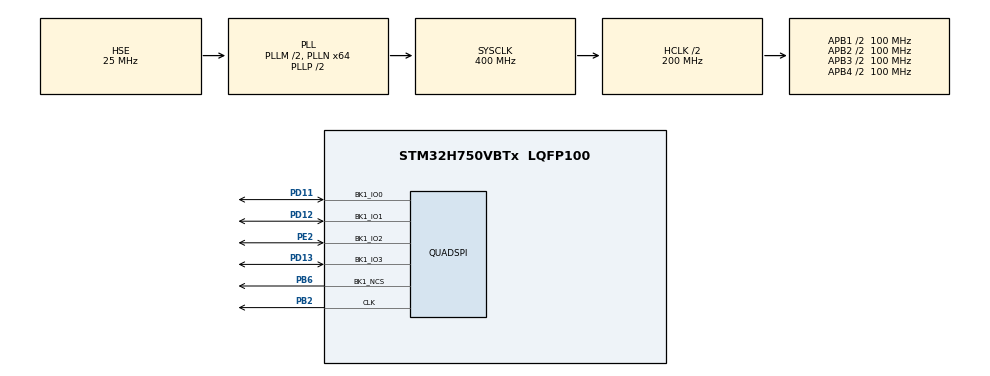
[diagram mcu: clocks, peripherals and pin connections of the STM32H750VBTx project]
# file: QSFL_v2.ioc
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Mcu.Family=STM32H7
Mcu.Name=STM32H750VBTx
Mcu.Package=LQFP100
NVIC.PriorityGroup=NVIC_PRIORITYGROUP_4
PB2.GPIO_Speed=GPIO_SPEED_FREQ_VERY_HIGH
PB2.Mode=Single Bank 1
PB2.Signal=QUADSPI_CLK
PB6.GPIO_Speed=GPIO_SPEED_FREQ_VERY_HIGH
PB6.Mode=Single Bank 1
PB6.Signal=QUADSPI_BK1_NCS
PD11.GPIO_Speed=GPIO_SPEED_FREQ_VERY_HIGH
PD11.Mode=Single Bank 1
PD11.Signal=QUADSPI_BK1_IO0
PD12.GPIO_Speed=GPIO_SPEED_FREQ_VERY_HIGH
PD12.Mode=Single Bank 1
PD12.Signal=QUADSPI_BK1_IO1
PD13.GPIO_Speed=GPIO_SPEED_FREQ_VERY_HIGH
PD13.Mode=Single Bank 1
PD13.Signal=QUADSPI_BK1_IO3
PE2.GPIO_Speed=GPIO_SPEED_FREQ_VERY_HIGH
PE2.Mode=Single Bank 1
PE2.Signal=QUADSPI_BK1_IO2
PH0-OSC_IN\ (PH0).Mode=HSE-External-Oscillator
PH0-OSC_IN\ (PH0).Signal=RCC_OSC_IN
PH1-OSC_OUT\ (PH1).Mode=HSE-External-Oscillator
PH1-OSC_OUT\ (PH1).Signal=RCC_OSC_OUT
ProjectManager.HeapSize=0x200
ProjectManager.StackSize=0x400
ProjectManager.TargetToolchain=STM32CubeIDE
QUADSPI.ChipSelectHighTime=QSPI_CS_HIGH_TIME_5_CYCLE
QUADSPI.ClockPrescaler=1
QUADSPI.FifoThreshold=4
QUADSPI.FlashSize=22
QUADSPI.SampleShifting=QSPI_SAMPLE_SHIFTING_HALFCYCLE
RCC.ADCFreq_Value=50390625
RCC.APB1Freq_Value=100000000
RCC.APB2Freq_Value=100000000
RCC.APB3Freq_Value=100000000
RCC.APB4Freq_Value=100000000
RCC.CortexFreq_Value=400000000
RCC.D1PPRE=RCC_APB3_DIV2
RCC.D2PPRE1=RCC_APB1_DIV2
RCC.D2PPRE2=RCC_APB2_DIV2
RCC.D3PPRE=RCC_APB4_DIV2
RCC.DIVM1=2
RCC.DIVN1=64
RCC.HCLKFreq_Value=200000000
RCC.HPRE=RCC_HCLK_DIV2
RCC.PLLFRACN=0
RCC.PLLSourceVirtual=RCC_PLLSOURCE_HSE
RCC.SYSCLKFreq_VALUE=400000000
RCC.SYSCLKSource=RCC_SYSCLKSOURCE_PLLCLK
RCC.USBFreq_Value=400000000
board=custom

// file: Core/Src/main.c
/* USER CODE BEGIN Header */
/**
  ******************************************************************************
  * @file           : main.c
  * @brief          : Main program body
  ******************************************************************************
  * @attention
  *
  * <h2><center>&copy; Copyright (c) 2021 STMicroelectronics.
  * All rights reserved.</center></h2>
  *
  * This software component is licensed by ST under BSD 3-Clause license,
  * the "License"; You may not use this file except in compliance with the
  * License. You may obtain a copy of the License at:
  *                        opensource.org/licenses/BSD-3-Clause
  *
  ******************************************************************************
  */
/* USER CODE END Header */
#include "main.h"
#include "quadspi.h"
#include "gpio.h"

/* USER CODE BEGIN Includes */
#include "delay.h"
#include "w25qxx.h"
/* USER CODE END Includes */

/* USER CODE BEGIN PTD */
typedef  void (*pFunction)(void);
/* USER CODE END PTD */

/* USER CODE BEGIN PD */
#define APPLICATION_ADDRESS  ((uint32_t)0x90000000)
/* USER CODE END PD */

QSPI_HandleTypeDef hqspi;

/* USER CODE BEGIN PV */
pFunction JumpToApplication;
/* USER CODE END PV */

void SystemClock_Config(void);
/* USER CODE BEGIN PFP */
static uint32_t QSPI_EnableMemoryMappedMode(QSPI_HandleTypeDef *hqspi);
/* USER CODE END PFP */

/* USER CODE BEGIN 0 */
#if 0
#pragma import(__use_no_semihosting)
int _ttywrch(int ch)
{
    ch=ch;
	return ch;
}

struct __FILE
{
	int handle;
	/* Whatever you require here. If the only file you are using is */
	/* standard output using printf() for debugging, no file handling */
	/* is required. */
};

__FILE __stdout;
void _sys_exit(int x)
{
	x = x;
}

int fputc(int ch, __FILE *f)
{
	while((USART1->ISR&0X40)==0);
	USART1->TDR = (uint8_t)ch;
	return ch;
}
#endif
/* USER CODE END 0 */

#include <string.h>
#define SECTORS_COUNT 100

int main(void)
{
	/* Var's for flash erasing and filling test */
	uint8_t buffer_test[MEMORY_SECTOR_SIZE];
	uint8_t buffer_check[MEMORY_SECTOR_SIZE];
	uint32_t var = 0;

	/* Preparing test arr */
	for (var = 0; var < MEMORY_SECTOR_SIZE; var++) {
	    buffer_test[var] = (var & 0xff);
	}

  /* USER CODE BEGIN 1 */
	SCB_EnableICache();
	SCB_EnableDCache();
  /* USER CODE END 1 */

  /* MCU Configuration--------------------------------------------------------*/

  /* Reset of all peripherals, Initializes the Flash interface and the Systick. */
  HAL_Init();

  /* Configure the system clock */
  SystemClock_Config();

  /* Initialize all configured peripherals */
  MX_GPIO_Init();
  MX_QUADSPI_Init();
  /* USER CODE BEGIN 2 */

  /* Flash funcs init */
  delay_init();
  W25QXX_Init();
  QSPI_EnableMemoryMappedMode(&hqspi);

  // Disable CPU L1 cache before jumping to the QSPI code execution
  SCB_DisableICache();
  SCB_DisableDCache();
  // Disable Systick interrupt
  SysTick->CTRL = 0;

  /* Check erasing and fill by buffer_test */
    W25QXX_ChipErase();
    for (var = 0; var < SECTORS_COUNT; var++) {
    	W25QXX_Write(buffer_test, var * MEMORY_SECTOR_SIZE, sizeof(buffer_test));
    	W25QXX_Read(buffer_check, var * MEMORY_SECTOR_SIZE, sizeof(buffer_check));
    }
  /* Check W25Qxx Write/Read functions until debug breakpoint */
  while(1) ;

  // Initialize user application's Stack Pointer & Jump to user application
  JumpToApplication = (pFunction) (*(__IO uint32_t*) (APPLICATION_ADDRESS + 4));
  __set_MSP(*(__IO uint32_t*) APPLICATION_ADDRESS);
  JumpToApplication();
  /* USER CODE END 2 */

  /* Infinite loop */
  while (1)
  {

  }
}

void SystemClock_Config(void)
{
  RCC_OscInitTypeDef RCC_OscInitStruct = {0};
  RCC_ClkInitTypeDef RCC_ClkInitStruct = {0};
  RCC_PeriphCLKInitTypeDef PeriphClkInitStruct = {0};

  /** Supply configuration update enable
  */
  HAL_PWREx_ConfigSupply(PWR_LDO_SUPPLY);
  /** Configure the main internal regulator output voltage
  */
  __HAL_PWR_VOLTAGESCALING_CONFIG(PWR_REGULATOR_VOLTAGE_SCALE1);

  while(!__HAL_PWR_GET_FLAG(PWR_FLAG_VOSRDY)) {}
  /** Initializes the RCC Oscillators according to the specified parameters
  * in the RCC_OscInitTypeDef structure.
  */
  RCC_OscInitStruct.OscillatorType = RCC_OSCILLATORTYPE_HSE;
  RCC_OscInitStruct.HSEState = RCC_HSE_ON;
  RCC_OscInitStruct.PLL.PLLState = RCC_PLL_ON;
  RCC_OscInitStruct.PLL.PLLSource = RCC_PLLSOURCE_HSE;
  RCC_OscInitStruct.PLL.PLLM = 2;
  RCC_OscInitStruct.PLL.PLLN = 64;
  RCC_OscInitStruct.PLL.PLLP = 2;
  RCC_OscInitStruct.PLL.PLLQ = 2;
  RCC_OscInitStruct.PLL.PLLR = 2;
  RCC_OscInitStruct.PLL.PLLRGE = RCC_PLL1VCIRANGE_3;
  RCC_OscInitStruct.PLL.PLLVCOSEL = RCC_PLL1VCOWIDE;
  RCC_OscInitStruct.PLL.PLLFRACN = 0;
  if (HAL_RCC_OscConfig(&RCC_OscInitStruct) != HAL_OK)
  {
    Error_Handler();
  }
  /** Initializes the CPU, AHB and APB buses clocks
  */
  RCC_ClkInitStruct.ClockType = RCC_CLOCKTYPE_HCLK|RCC_CLOCKTYPE_SYSCLK
                              |RCC_CLOCKTYPE_PCLK1|RCC_CLOCKTYPE_PCLK2
                              |RCC_CLOCKTYPE_D3PCLK1|RCC_CLOCKTYPE_D1PCLK1;
  RCC_ClkInitStruct.SYSCLKSource = RCC_SYSCLKSOURCE_PLLCLK;
  RCC_ClkInitStruct.SYSCLKDivider = RCC_SYSCLK_DIV1;
  RCC_ClkInitStruct.AHBCLKDivider = RCC_HCLK_DIV2;
  RCC_ClkInitStruct.APB3CLKDivider = RCC_APB3_DIV2;
  RCC_ClkInitStruct.APB1CLKDivider = RCC_APB1_DIV2;
  RCC_ClkInitStruct.APB2CLKDivider = RCC_APB2_DIV2;
  RCC_ClkInitStruct.APB4CLKDivider = RCC_APB4_DIV2;

  if (HAL_RCC_ClockConfig(&RCC_ClkInitStruct, FLASH_LATENCY_2) != HAL_OK)
  {
    Error_Handler();
  }
  PeriphClkInitStruct.PeriphClockSelection = RCC_PERIPHCLK_QSPI;
  PeriphClkInitStruct.QspiClockSelection = RCC_QSPICLKSOURCE_D1HCLK;
  if (HAL_RCCEx_PeriphCLKConfig(&PeriphClkInitStruct) != HAL_OK)
  {
    Error_Handler();
  }
}

/* USER CODE BEGIN 4 */
static uint32_t QSPI_EnableMemoryMappedMode(QSPI_HandleTypeDef *hqspi)
{
  QSPI_CommandTypeDef cmd;
  QSPI_MemoryMappedTypeDef mem;

  // Configure the command for the read instruction
  cmd.InstructionMode = QSPI_INSTRUCTION_4_LINES;
  cmd.Instruction = W25X_FastRead;

  cmd.AddressMode = QSPI_ADDRESS_4_LINES;
  cmd.AddressSize = QSPI_ADDRESS_24_BITS;

  cmd.DataMode = QSPI_DATA_4_LINES;

  cmd.AlternateByteMode = QSPI_ALTERNATE_BYTES_NONE;

  cmd.DummyCycles = 8;

  cmd.DdrMode = QSPI_DDR_MODE_DISABLE;
  cmd.DdrHoldHalfCycle = QSPI_DDR_HHC_ANALOG_DELAY;
  cmd.SIOOMode = QSPI_SIOO_INST_EVERY_CMD;

  // Configure the memory mapped mode
  mem.TimeOutActivation = QSPI_TIMEOUT_COUNTER_DISABLE;
  mem.TimeOutPeriod = 0;

  if (HAL_QSPI_MemoryMapped(hqspi, &cmd, &mem) != HAL_OK)
  {
    return 1;
  }

  return 0;
}
/* USER CODE END 4 */

void Error_Handler(void)
{
  __disable_irq();
  while (1)
  {
  }
}

/************************ (C) COPYRIGHT STMicroelectronics *****END OF FILE****/
